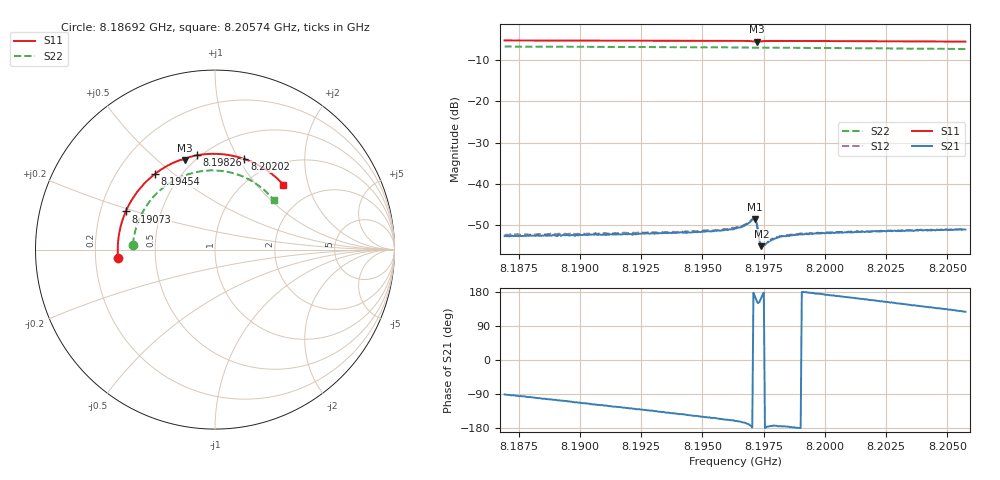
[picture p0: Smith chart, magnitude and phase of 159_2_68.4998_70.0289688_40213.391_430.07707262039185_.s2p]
#  HZ  S  RI  R  50.00
! Rohde & Schwarz Vector Network Analyzer
! Rohde-Schwarz,ZNB20-2Port,1311601062101988,3.16
! Created: UTC 3/20/2024, 4:55:43 PM
! freq[Hz]  re:S11  im:S11  re:S21  im:S21  re:S12  im:S12  re:S22  im:S22
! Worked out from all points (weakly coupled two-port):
!   401 points, 8.18692 GHz to 8.20574 GHz, reference 50 ohm
!   highest |S21| = -48.49 dB at 8.19713 GHz (marker M1); lowest = -55.1 dB at 8.19741 GHz (marker M2)
!   lowest |S11| = -5.6 dB at 8.19722 GHz (marker M3), VSWR 3.20, Z = 22.6 + j31 ohm
!   |S11| at or under -10 dB: nowhere
!   |S22| runs from -7.4 to -6.8 dB; largest |S21 - S12| = 0.00019
!   S11 on the Smith chart (normalised r, x): 8.18692 GHz: 0.30, -0.04; 8.19073 GHz: 0.31, +0.19; 8.19454 GHz: 0.36, +0.43; 8.19826 GHz: 0.48, +0.71; 8.20202 GHz: 0.75, +1.06; 8.20574 GHz: 1.41, +1.41
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8.186921e9  -0.5401 -0.0479  -4.08e-05 -0.00233  -8.11e-05 -0.0024  -0.4571 0.0273
8.18852e9  -0.538 0.0639  -0.000491 -0.00231  -0.000558 -0.00235  -0.4417 0.1143
8.190072e9  -0.5136 0.1698  -0.000954 -0.00221  -0.00102 -0.0023  -0.4108 0.1943
8.190731e9  -0.497 0.2127  -0.00117 -0.00211  -0.00124 -0.00217  -0.3932 0.2263
8.193224e9  -0.4022 0.3592  -0.00183 -0.00174  -0.00195 -0.00172  -0.3045 0.3318
8.194541e9  -0.3341 0.4221  -0.00214 -0.00144  -0.00224 -0.00143  -0.2456 0.3755
8.195529e9  -0.2762 0.4612  -0.00243 -0.00122  -0.00252 -0.0011  -0.1968 0.4014
8.196329e9  -0.2252 0.4869  -0.00272 -0.000941  -0.0028 -0.000869  -0.1552 0.4181
8.196705e9  -0.1993 0.497  -0.00299 -0.000794  -0.00311 -0.000701  -0.1349 0.4243
8.197034e9  -0.1737 0.5019  -0.00368 -0.000128  -0.00374 1.77e-05  -0.1171 0.4289
8.197128e9  -0.1668 0.4997  -0.00372 0.000599  -0.00378 0.000748  -0.112 0.43
8.197176e9  -0.1653 0.4978  -0.00345 0.00109  -0.00344 0.00124  -0.1094 0.4306
8.197223e9  -0.1654 0.4968  -0.00291 0.0014  -0.0029 0.00152  -0.1069 0.4311
8.197317e9  -0.1654 0.5009  -0.0019 0.000996  -0.0019 0.00111  -0.1019 0.4324
8.197411e9  -0.1605 0.5066  -0.00171 0.00044  -0.00174 0.000456  -0.0968 0.4335
8.197505e9  -0.1538 0.5108  -0.0018 7.98e-05  -0.00182 0.000113  -0.0914 0.4344
8.197928e9  -0.1228 0.5208  -0.00215 -0.000267  -0.00219 -0.000151  -0.0678 0.4379
8.198257e9  -0.0994 0.5257  -0.00232 -0.000207  -0.00235 -8.55e-05  -0.0494 0.4399
8.19948e9  -0.0126 0.5338  -0.00247 0.000122  -0.00252 0.000244  0.0198 0.4401
8.202021e9  0.164 0.5049  -0.00247 0.00101  -0.00244 0.00114  0.1596 0.4052
8.202632e9  0.2043 0.4891  -0.00237 0.00126  -0.00236 0.00131  0.1911 0.39
8.205737e9  0.3814 0.361  -0.0017 0.00223  -0.00166 0.00231  0.3277 0.275
